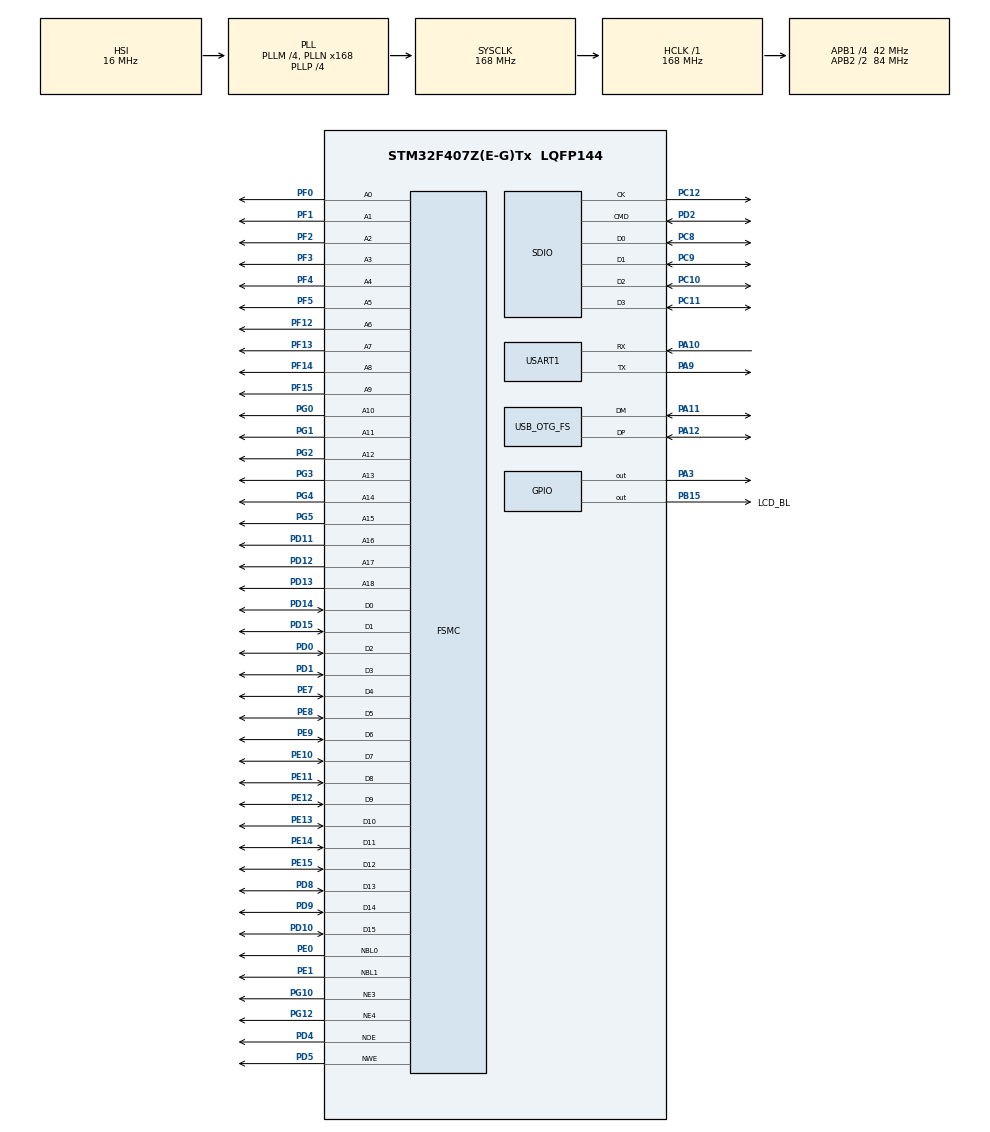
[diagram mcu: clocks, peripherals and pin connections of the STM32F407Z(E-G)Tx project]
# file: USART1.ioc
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Dma.Request0=SDIO_RX
Dma.Request1=SDIO_TX
Dma.SDIO_RX.0.Direction=DMA_PERIPH_TO_MEMORY
Dma.SDIO_RX.0.FIFOMode=DMA_FIFOMODE_ENABLE
Dma.SDIO_RX.0.FIFOThreshold=DMA_FIFO_THRESHOLD_FULL
Dma.SDIO_RX.0.Instance=DMA2_Stream3
Dma.SDIO_RX.0.MemBurst=DMA_MBURST_INC4
Dma.SDIO_RX.0.MemDataAlignment=DMA_MDATAALIGN_WORD
Dma.SDIO_RX.0.MemInc=DMA_MINC_ENABLE
Dma.SDIO_RX.0.Mode=DMA_PFCTRL
Dma.SDIO_RX.0.PeriphBurst=DMA_PBURST_INC4
Dma.SDIO_RX.0.PeriphDataAlignment=DMA_PDATAALIGN_WORD
Dma.SDIO_RX.0.PeriphInc=DMA_PINC_DISABLE
Dma.SDIO_RX.0.Priority=DMA_PRIORITY_LOW
Dma.SDIO_TX.1.Direction=DMA_MEMORY_TO_PERIPH
Dma.SDIO_TX.1.FIFOMode=DMA_FIFOMODE_ENABLE
Dma.SDIO_TX.1.FIFOThreshold=DMA_FIFO_THRESHOLD_FULL
Dma.SDIO_TX.1.Instance=DMA2_Stream6
Dma.SDIO_TX.1.MemBurst=DMA_MBURST_INC4
Dma.SDIO_TX.1.MemDataAlignment=DMA_MDATAALIGN_WORD
Dma.SDIO_TX.1.MemInc=DMA_MINC_ENABLE
Dma.SDIO_TX.1.Mode=DMA_PFCTRL
Dma.SDIO_TX.1.PeriphBurst=DMA_PBURST_INC4
Dma.SDIO_TX.1.PeriphDataAlignment=DMA_PDATAALIGN_WORD
Dma.SDIO_TX.1.PeriphInc=DMA_PINC_DISABLE
Dma.SDIO_TX.1.Priority=DMA_PRIORITY_LOW
FATFS.USE_DMA_CODE_SD=1
FATFS._CODE_PAGE=936
FATFS._FS_NORTC=0
FATFS._USE_LFN=2
FSMC.AddressSetupTime1=0
FSMC.AddressSetupTime2=0
FSMC.BusTurnAroundDuration1=0
FSMC.BusTurnAroundDuration2=0
FSMC.DataSetupTime1=5
FSMC.DataSetupTime2=1
FSMC.ExtendedAddressSetupTime1=1
FSMC.ExtendedBusTurnAroundDuration1=2
FSMC.ExtendedDataSetupTime1=1
FSMC.ExtendedMode1=FSMC_EXTENDED_MODE_ENABLE
Mcu.Family=STM32F4
Mcu.Name=STM32F407Z(E-G)Tx
Mcu.Package=LQFP144
NVIC.DMA2_Stream3_IRQn=true\:2\:0\:true\:false\:true\:false\:true\:true
NVIC.DMA2_Stream6_IRQn=true\:2\:0\:true\:false\:true\:false\:true\:true
NVIC.HASH_RNG_IRQn=true\:3\:0\:true\:false\:true\:true\:true\:true
NVIC.OTG_FS_IRQn=true\:3\:0\:true\:false\:true\:true\:true\:true
NVIC.PriorityGroup=NVIC_PRIORITYGROUP_2
NVIC.SDIO_IRQn=true\:0\:0\:true\:false\:true\:true\:true\:true
NVIC.TIM2_IRQn=true\:0\:0\:false\:false\:true\:true\:true\:true
PA10.Mode=Asynchronous
PA10.Signal=USART1_RX
PA11.Mode=Device_Only
PA11.Signal=USB_OTG_FS_DM
PA12.Mode=Device_Only
PA12.Signal=USB_OTG_FS_DP
PA13.Mode=Serial_Wire
PA13.Signal=SYS_JTMS-SWDIO
PA14.Mode=Serial_Wire
PA14.Signal=SYS_JTCK-SWCLK
PA3.GPIO_PuPd=GPIO_PULLDOWN
PA3.Signal=GPIO_Output
PA9.Mode=Asynchronous
PA9.Signal=USART1_TX
PB15.GPIO_Label=LCD_BL
PB15.GPIO_ModeDefaultOutputPP=GPIO_MODE_OUTPUT_PP
PB15.GPIO_PuPd=GPIO_PULLUP
PB15.GPIO_Speed=GPIO_SPEED_FREQ_HIGH
PB15.Signal=GPIO_Output
PC10.Mode=SD_4_bits_Wide_bus
PC10.Signal=SDIO_D2
PC11.Mode=SD_4_bits_Wide_bus
PC11.Signal=SDIO_D3
PC12.Mode=SD_4_bits_Wide_bus
PC12.Signal=SDIO_CK
PC14-OSC32_IN.Mode=LSE-External-Oscillator
PC14-OSC32_IN.Signal=RCC_OSC32_IN
PC15-OSC32_OUT.Mode=LSE-External-Oscillator
PC15-OSC32_OUT.Signal=RCC_OSC32_OUT
PC8.Mode=SD_4_bits_Wide_bus
PC8.Signal=SDIO_D0
PC9.Mode=SD_4_bits_Wide_bus
PC9.Signal=SDIO_D1
PD0.Signal=FSMC_D2_DA2
PD1.Signal=FSMC_D3_DA3
PD10.Signal=FSMC_D15_DA15
PD11.Signal=FSMC_A16_CLE
PD12.Signal=FSMC_A17_ALE
PD13.Signal=FSMC_A18
PD14.Signal=FSMC_D0_DA0
PD15.Signal=FSMC_D1_DA1
PD2.Mode=SD_4_bits_Wide_bus
PD2.Signal=SDIO_CMD
PD4.Signal=FSMC_NOE
PD5.Signal=FSMC_NWE
PD8.Signal=FSMC_D13_DA13
PD9.Signal=FSMC_D14_DA14
PE0.Signal=FSMC_NBL0
PE1.Signal=FSMC_NBL1
PE10.Signal=FSMC_D7_DA7
PE11.Signal=FSMC_D8_DA8
PE12.Signal=FSMC_D9_DA9
PE13.Signal=FSMC_D10_DA10
PE14.Signal=FSMC_D11_DA11
PE15.Signal=FSMC_D12_DA12
PE7.Signal=FSMC_D4_DA4
PE8.Signal=FSMC_D5_DA5
PE9.Signal=FSMC_D6_DA6
PF0.Signal=FSMC_A0
PF1.Signal=FSMC_A1
PF12.Signal=FSMC_A6
PF13.Signal=FSMC_A7
PF14.Signal=FSMC_A8
PF15.Signal=FSMC_A9
PF2.Signal=FSMC_A2
PF3.Signal=FSMC_A3
PF4.Signal=FSMC_A4
PF5.Signal=FSMC_A5
PG0.Signal=FSMC_A10
PG1.Signal=FSMC_A11
PG10.Mode=NorPsramChipSelect3_2
PG10.Signal=FSMC_NE3
PG12.Mode=NorPsramChipSelect4_1
PG12.Signal=FSMC_NE4
PG2.Signal=FSMC_A12
PG3.Signal=FSMC_A13
PG4.Signal=FSMC_A14
PG5.Signal=FSMC_A15
PH0-OSC_IN.Mode=HSE-External-Oscillator
PH0-OSC_IN.Signal=RCC_OSC_IN
PH1-OSC_OUT.Mode=HSE-External-Oscillator
PH1-OSC_OUT.Signal=RCC_OSC_OUT
ProjectManager.HeapSize=0x400
ProjectManager.StackSize=0x2000
ProjectManager.TargetToolchain=MDK-ARM V5
RCC.48MHZClocksFreq_Value=48000000
RCC.AHBFreq_Value=168000000
RCC.APB1CLKDivider=RCC_HCLK_DIV4
RCC.APB1Freq_Value=42000000
RCC.APB1TimFreq_Value=84000000
RCC.APB2CLKDivider=RCC_HCLK_DIV2
RCC.APB2Freq_Value=84000000
RCC.APB2TimFreq_Value=168000000
RCC.CortexFreq_Value=168000000
RCC.HCLKFreq_Value=168000000
RCC.HSE_VALUE=25000000
RCC.HSI_VALUE=16000000
RCC.PLLM=4
RCC.PLLN=168
RCC.PLLP=RCC_PLLP_DIV4
RCC.PLLQ=14
RCC.PLLSource=RCC_PLLSOURCE_HSI
RCC.RCC_RTC_Clock_Source=RCC_RTCCLKSOURCE_LSE
RCC.RCC_RTC_Clock_SourceVirtual=RCC_RTCCLKSOURCE_LSE
RCC.SYSCLKFreq_VALUE=168000000
RCC.SYSCLKSource=RCC_SYSCLKSOURCE_PLLCLK
RCC.VCOOutputFreq_Value=672000000
SH.FSMC_A0.0=FSMC_A0,19b-a2
SH.FSMC_A1.0=FSMC_A1,19b-a2
SH.FSMC_A10.0=FSMC_A10,19b-a2
SH.FSMC_A11.0=FSMC_A11,19b-a2
SH.FSMC_A12.0=FSMC_A12,19b-a2
SH.FSMC_A13.0=FSMC_A13,19b-a2
SH.FSMC_A14.0=FSMC_A14,19b-a2
SH.FSMC_A15.0=FSMC_A15,19b-a2
SH.FSMC_A16_CLE.0=FSMC_A16,19b-a2
SH.FSMC_A17_ALE.0=FSMC_A17,19b-a2
SH.FSMC_A18.0=FSMC_A18,19b-a2
SH.FSMC_A2.0=FSMC_A2,19b-a2
SH.FSMC_A3.0=FSMC_A3,19b-a2
SH.FSMC_A4.0=FSMC_A4,19b-a2
SH.FSMC_A5.0=FSMC_A5,19b-a2
SH.FSMC_A6.0=FSMC_A6,A6_1
SH.FSMC_A6.1=FSMC_A6,19b-a2
SH.FSMC_A7.0=FSMC_A7,19b-a2
SH.FSMC_A8.0=FSMC_A8,19b-a2
SH.FSMC_A9.0=FSMC_A9,19b-a2
SH.FSMC_D0_DA0.0=FSMC_D0,16b-d1
SH.FSMC_D0_DA0.1=FSMC_D0,16b-d2
SH.FSMC_D10_DA10.0=FSMC_D10,16b-d1
SH.FSMC_D10_DA10.1=FSMC_D10,16b-d2
SH.FSMC_D11_DA11.0=FSMC_D11,16b-d1
SH.FSMC_D11_DA11.1=FSMC_D11,16b-d2
SH.FSMC_D12_DA12.0=FSMC_D12,16b-d1
SH.FSMC_D12_DA12.1=FSMC_D12,16b-d2
SH.FSMC_D13_DA13.0=FSMC_D13,16b-d1
SH.FSMC_D13_DA13.1=FSMC_D13,16b-d2
SH.FSMC_D14_DA14.0=FSMC_D14,16b-d1
SH.FSMC_D14_DA14.1=FSMC_D14,16b-d2
SH.FSMC_D15_DA15.0=FSMC_D15,16b-d1
SH.FSMC_D15_DA15.1=FSMC_D15,16b-d2
SH.FSMC_D1_DA1.0=FSMC_D1,16b-d1
SH.FSMC_D1_DA1.1=FSMC_D1,16b-d2
SH.FSMC_D2_DA2.0=FSMC_D2,16b-d1
SH.FSMC_D2_DA2.1=FSMC_D2,16b-d2
SH.FSMC_D3_DA3.0=FSMC_D3,16b-d1
SH.FSMC_D3_DA3.1=FSMC_D3,16b-d2
SH.FSMC_D4_DA4.0=FSMC_D4,16b-d1
SH.FSMC_D4_DA4.1=FSMC_D4,16b-d2
SH.FSMC_D5_DA5.0=FSMC_D5,16b-d1
SH.FSMC_D5_DA5.1=FSMC_D5,16b-d2
SH.FSMC_D6_DA6.0=FSMC_D6,16b-d1
SH.FSMC_D6_DA6.1=FSMC_D6,16b-d2
SH.FSMC_D7_DA7.0=FSMC_D7,16b-d1
SH.FSMC_D7_DA7.1=FSMC_D7,16b-d2
SH.FSMC_D8_DA8.0=FSMC_D8,16b-d1
SH.FSMC_D8_DA8.1=FSMC_D8,16b-d2
SH.FSMC_D9_DA9.0=FSMC_D9,16b-d1
SH.FSMC_D9_DA9.1=FSMC_D9,16b-d2
SH.FSMC_NBL0.0=FSMC_NBL0,2ByteEnable2
SH.FSMC_NBL1.0=FSMC_NBL1,2ByteEnable2
SH.FSMC_NOE.0=FSMC_NOE,Lcd1
SH.FSMC_NOE.1=FSMC_NOE,Sram2
SH.FSMC_NWE.0=FSMC_NWE,Lcd1
SH.FSMC_NWE.1=FSMC_NWE,Sram2
TIM2.Period=9999
TIM2.Prescaler=8399
USART1.VirtualMode=VM_ASYNC
USB_DEVICE.CLASS_NAME_FS=MSC
USB_DEVICE.VirtualMode-MSC_FS=Msc
USB_DEVICE.VirtualModeFS=Msc_FS
USB_OTG_FS.VirtualMode=Device_Only
VP_FATFS_VS_SDIO.Mode=SDIO
VP_RNG_VS_RNG.Mode=RNG_Activate
VP_RTC_VS_RTC_Activate.Mode=RTC_Enabled
VP_RTC_VS_RTC_Calendar.Mode=RTC_Calendar
VP_TIM2_VS_ClockSourceINT.Mode=Internal
VP_USB_DEVICE_VS_USB_DEVICE_MSC_FS.Mode=MSC_FS
board=custom

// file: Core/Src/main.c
/* USER CODE BEGIN Header */
/**
  ******************************************************************************
  * @file           : main.c
  * @brief          : Main program body
  ******************************************************************************
  * @attention
  *
  * Copyright (c) 2024 STMicroelectronics.
  * All rights reserved.
  *
  * This software is licensed under terms that can be found in the LICENSE file
  * in the root directory of this software component.
  * If no LICENSE file comes with this software, it is provided AS-IS.
  *
  ******************************************************************************
  */
/* USER CODE END Header */
#include "main.h"
#include "dma.h"
#include "fatfs.h"
#include "rng.h"
#include "rtc.h"
#include "sdio.h"
#include "tim.h"
#include "usart.h"
#include "usb_device.h"
#include "gpio.h"
#include "fsmc.h"

/* USER CODE BEGIN Includes */
#include "lcd.h"
#include "pic.h"
#include "stdio.h"
#include "gif.h"
#include "piclib.h"
#include "delay.h"
#include "touch.h"
#include "sram.h"
#include "game.h"
/* USER CODE END Includes */

/* USER CODE BEGIN PTD */
int fps=0;
int game_state=0;
/* USER CODE END PTD */

void SystemClock_Config(void);
/* USER CODE BEGIN PFP */
void HAL_TIM_PeriodElapsedCallback(TIM_HandleTypeDef* htim){
    if(htim->Instance==TIM2)
			{
				printf("LCD FPS:%d\r\n",fps);
				fps=0;
				srand(x_XINNAI*fps);
				XINNAI_ITEM->bmp_file=xinnai;
				if(game_state==0)
				{
				count_down--;
				lcd_show_xnum(71,0,count_down,3,24,0,BLACK);
				}
    }
}
/* USER CODE END PFP */

int main(void)
{

  /* MCU Configuration--------------------------------------------------------*/

  /* Reset of all peripherals, Initializes the Flash interface and the Systick. */
  HAL_Init();

  /* Configure the system clock */
  SystemClock_Config();

  /* Initialize all configured peripherals */
  MX_GPIO_Init();
  MX_USART1_UART_Init();
  MX_FSMC_Init();
  MX_TIM2_Init();
	MX_DMA_Init();
  MX_SDIO_SD_Init();
  MX_FATFS_Init();
  MX_RTC_Init();
  MX_USB_DEVICE_Init();
  MX_RNG_Init();
  /* USER CODE BEGIN 2 */
	lcd_init();
	delay_init();
	tp_dev.init();
	sram_init();
	HAL_TIM_Base_Start_IT(&htim2);
	printf("LCD ID:%x\r\n", lcddev.id);
	game_init();

  /* USER CODE END 2 */

  /* Infinite loop */
  while (1)
  {

    /* USER CODE BEGIN 3 */
		game_state=0;
		while(1)
		{
			game();
			fps++;
			if(count_down==0||health_point==0)break;
		}
		game_state=1;
		if(health_point==0)
		{
			Load_bmp_with_backgroung_from_sram(89,199,"GAME/XINNAI_59.bmp",back) ;

		}
		else
		{
			Load_bmp_with_backgroung_from_sram(89,199,"GAME/XINNAI_100.bmp",back) ;
		}
		lcd_show_font_str(143, 499,"����һ��",48,BLACK,0);
		while(! check_click(143,48*4,499,48))
		{
		}
		game_state=0;
		game_reinit();

  }
  /* USER CODE END 3 */
}

void SystemClock_Config(void)
{
  RCC_OscInitTypeDef RCC_OscInitStruct = {0};
  RCC_ClkInitTypeDef RCC_ClkInitStruct = {0};

  /** Configure the main internal regulator output voltage
  */
  __HAL_RCC_PWR_CLK_ENABLE();
  __HAL_PWR_VOLTAGESCALING_CONFIG(PWR_REGULATOR_VOLTAGE_SCALE1);

  /** Initializes the RCC Oscillators according to the specified parameters
  * in the RCC_OscInitTypeDef structure.
  */
  RCC_OscInitStruct.OscillatorType = RCC_OSCILLATORTYPE_HSI|RCC_OSCILLATORTYPE_LSE;
  RCC_OscInitStruct.LSEState = RCC_LSE_ON;
  RCC_OscInitStruct.HSIState = RCC_HSI_ON;
  RCC_OscInitStruct.HSICalibrationValue = RCC_HSICALIBRATION_DEFAULT;
  RCC_OscInitStruct.PLL.PLLState = RCC_PLL_ON;
  RCC_OscInitStruct.PLL.PLLSource = RCC_PLLSOURCE_HSI;
  RCC_OscInitStruct.PLL.PLLM = 4;
  RCC_OscInitStruct.PLL.PLLN = 168;
  RCC_OscInitStruct.PLL.PLLP = RCC_PLLP_DIV4;
  RCC_OscInitStruct.PLL.PLLQ = 14;
  if (HAL_RCC_OscConfig(&RCC_OscInitStruct) != HAL_OK)
  {
    Error_Handler();
  }

  /** Initializes the CPU, AHB and APB buses clocks
  */
  RCC_ClkInitStruct.ClockType = RCC_CLOCKTYPE_HCLK|RCC_CLOCKTYPE_SYSCLK
                              |RCC_CLOCKTYPE_PCLK1|RCC_CLOCKTYPE_PCLK2;
  RCC_ClkInitStruct.SYSCLKSource = RCC_SYSCLKSOURCE_PLLCLK;
  RCC_ClkInitStruct.AHBCLKDivider = RCC_SYSCLK_DIV1;
  RCC_ClkInitStruct.APB1CLKDivider = RCC_HCLK_DIV4;
  RCC_ClkInitStruct.APB2CLKDivider = RCC_HCLK_DIV2;

  if (HAL_RCC_ClockConfig(&RCC_ClkInitStruct, FLASH_LATENCY_5) != HAL_OK)
  {
    Error_Handler();
  }
}

void Error_Handler(void)
{
  __disable_irq();
  while (1)
  {
  }
}
